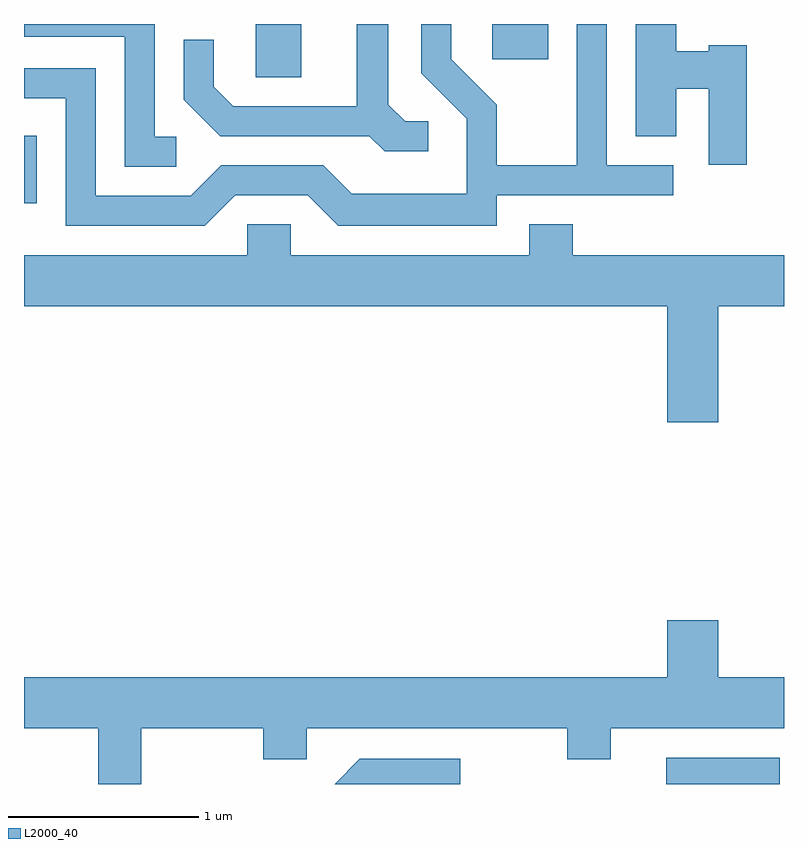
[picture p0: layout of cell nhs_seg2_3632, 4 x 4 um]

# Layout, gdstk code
import gdstk
lib = gdstk.Library(unit=1e-6, precision=1e-09)
def R(c, l, rs):  # rectangles x0, y0, x1, y1
    for r in rs: c.add(gdstk.rectangle(r[:2], r[2:], *l))
def P(c, l, *ps):  # polygons
    for p in ps: c.add(gdstk.Polygon(p, *l))
L2000_40 = (2000, 40)

nhs_seg2_3632 = lib.new_cell('nhs_seg2_3632')
R(nhs_seg2_3632, L2000_40, [(294.991,1045.802,295.588,1045.939), (291.611,1048.858,291.679,1049.214), (292.831,1049.521,293.069,1049.802), (294.076,1049.616,294.369,1049.802)])
P(nhs_seg2_3632, L2000_40, [(295.414,1049.689),(295.216,1049.689),(295.216,1049.659),(295.044,1049.659),(295.044,1049.802),(294.831,1049.802),(294.831,1049.211),(295.044,1049.211),(295.044,1049.461),(295.216,1049.461),(295.216,1049.061),(295.414,1049.061)],
  [(292.413,1049.209),(292.299,1049.209),(292.299,1049.802),(291.611,1049.802),(291.611,1049.736),(292.141,1049.736),(292.141,1049.051),(292.413,1049.051)],
  [(292.722,1048.901),(293.104,1048.901),(293.264,1048.741),(294.099,1048.741),(294.099,1048.901),(295.028,1048.901),(295.028,1049.059),(294.679,1049.059),(294.679,1049.802),(294.521,1049.802),(294.521,1049.059),(294.099,1049.059),(294.099,1049.377),(293.859,1049.617),(293.859,1049.802),(293.701,1049.802),(293.701,1049.544),(293.941,1049.304),(293.941,1048.909),(293.337,1048.909),(293.187,1049.059),(292.649,1049.059),(292.489,1048.899),(291.989,1048.899),(291.989,1049.569),(291.611,1049.569),(291.611,1049.411),(291.831,1049.411),(291.831,1048.741),(292.562,1048.741)],
  [(293.738,1049.289),(293.617,1049.289),(293.529,1049.377),(293.529,1049.802),(293.361,1049.802),(293.361,1049.369),(292.712,1049.369),(292.609,1049.472),(292.609,1049.718),(292.451,1049.718),(292.451,1049.404),(292.644,1049.211),(293.429,1049.211),(293.509,1049.131),(293.738,1049.131)],
  [(295.264,1048.316),(295.611,1048.316),(295.611,1048.584),(294.499,1048.584),(294.499,1048.749),(294.271,1048.749),(294.271,1048.584),(293.014,1048.584),(293.014,1048.749),(292.786,1048.749),(292.786,1048.584),(291.611,1048.584),(291.611,1048.316),(294.996,1048.316),(294.996,1047.706),(295.264,1047.706)],
  [(291.611,1046.096),(292.001,1046.096),(292.001,1045.802),(292.229,1045.802),(292.229,1046.096),(292.871,1046.096),(292.871,1045.931),(293.099,1045.931),(293.099,1046.096),(294.471,1046.096),(294.471,1045.931),(294.699,1045.931),(294.699,1046.096),(295.611,1046.096),(295.611,1046.364),(295.264,1046.364),(295.264,1046.664),(294.996,1046.664),(294.996,1046.364),(291.611,1046.364)],
  [(293.908,1045.934),(293.379,1045.934),(293.246,1045.802),(293.908,1045.802)])

lib.write_gds('nhs_seg2_3632.gds')
